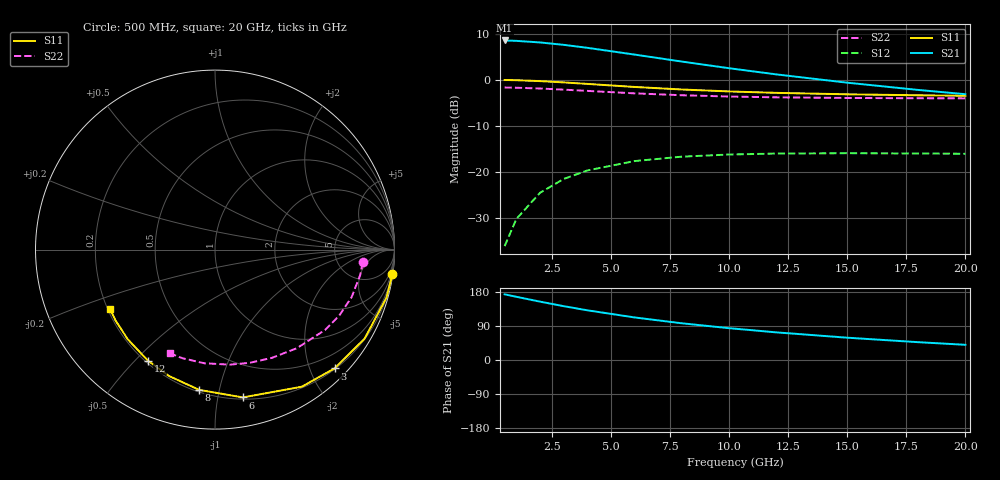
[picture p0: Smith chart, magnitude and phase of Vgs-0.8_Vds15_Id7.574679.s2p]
# Hz S RI R 50
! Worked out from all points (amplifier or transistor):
!   12 points, 500 MHz to 20 GHz, reference 50 ohm
!   highest |S21| = 8.6 dB at 500 MHz (marker M1)
!   |S21| within 3 dB of that: start of sweep to 5.907 GHz
!   unconditionally stable (mu >= 1): 15.7 GHz to end of sweep
!   at 2 GHz: K = 0.11, MSG = 16.3 dB, |S12| = -24.5 dB
!   at 8 GHz: K = 0.46, MSG = 10.3 dB, |S12| = -16.7 dB
!   at 20 GHz: K = 1.37, MAG = 2.8 dB, |S12| = -16.1 dB
!   S11 on the Smith chart (normalised r, x): 500 MHz: 0, -15; 3 GHz: 0.22, -2.41; 6 GHz: 0.21, -1.18; 8 GHz: 0.21, -0.87; 12 GHz: 0.21, -0.55; 20 GHz: 0.21, -0.25
5e8  0.9886 -0.1368  -2.663 0.3107  0.0015 0.0156  0.8229 -0.0709
1e9  0.9551 -0.268  -2.583 0.608  0.00587 0.0304  0.8097 -0.1398
2e9  0.8335 -0.4963  -2.292 1.119  0.0217 0.0553  0.7609 -0.2653
3e9  0.6659 -0.662  -1.895 1.477  0.0433 0.0719  0.6918 -0.3682
4e9  0.4839 -0.7638  -1.467 1.68  0.0663 0.0799  0.6133 -0.4476
6e9  0.155 -0.8236  -0.7154 1.742  0.1061 0.0772  0.4564 -0.5493
8e9  -0.0887 -0.7814  -0.1893 1.57  0.1328 0.062  0.3159 -0.6035
1e10  -0.2571 -0.7037  0.1406 1.331  0.1483 0.0438  0.1929 -0.6308
1.2e10  -0.3732 -0.6193  0.337 1.097  0.1562 0.0264  0.0837 -0.6409
1.5e10  -0.4858 -0.4999  0.4821 0.7979  0.1598 0.0044  -0.0597 -0.6333
1.8e10  -0.5542 -0.3948  0.5302 0.5693  0.1583 -0.0127  -0.1815 -0.6051
2e10  -0.5845 -0.3321  0.5345 0.45  0.156 -0.0219  -0.2518 -0.5778
